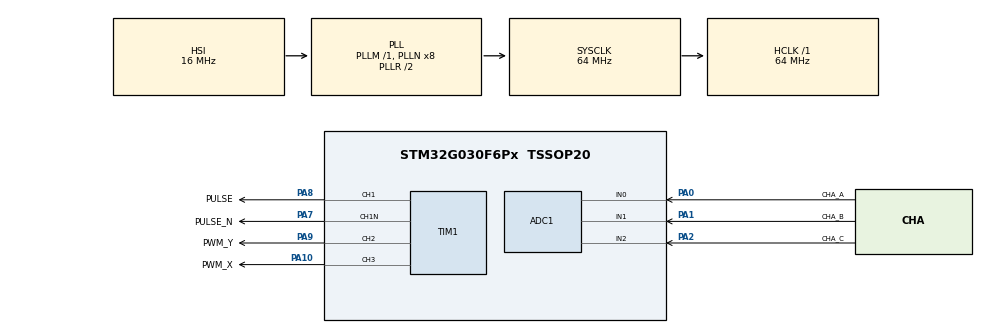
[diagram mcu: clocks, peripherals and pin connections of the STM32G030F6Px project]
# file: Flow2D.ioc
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ADC1.Channel-0\#ChannelRegularConversion=ADC_CHANNEL_0
ADC1.Channel-1\#ChannelRegularConversion=ADC_CHANNEL_1
ADC1.Channel-2\#ChannelRegularConversion=ADC_CHANNEL_2
ADC1.Channel-3\#ChannelRegularConversion=ADC_CHANNEL_TEMPSENSOR
ADC1.ChannelTS=ADC_CHANNEL_TEMPSENSOR
ADC1.ClockPrescaler=ADC_CLOCK_SYNC_PCLK_DIV2
ADC1.DMAContinuousRequests=ENABLE
ADC1.EOCSelection=ADC_EOC_SEQ_CONV
ADC1.ExternalTrigConv=ADC_EXTERNALTRIG_T3_TRGO
ADC1.ExternalTrigConvEdge=ADC_EXTERNALTRIGCONVEDGE_RISING
ADC1.NbrOfConversion=4
ADC1.NbrOfConversionFlag=1
ADC1.Overrun=ADC_OVR_DATA_OVERWRITTEN
ADC1.Rank-0\#ChannelRegularConversion=1
ADC1.Rank-1\#ChannelRegularConversion=2
ADC1.Rank-2\#ChannelRegularConversion=3
ADC1.Rank-3\#ChannelRegularConversion=4
ADC1.SamplingTime-0\#ChannelRegularConversion=ADC_SAMPLINGTIME_COMMON_1
ADC1.SamplingTime-1\#ChannelRegularConversion=ADC_SAMPLINGTIME_COMMON_1
ADC1.SamplingTime-2\#ChannelRegularConversion=ADC_SAMPLINGTIME_COMMON_1
ADC1.SamplingTime-3\#ChannelRegularConversion=ADC_SAMPLINGTIME_COMMON_2
ADC1.SamplingTimeCommon1=ADC_SAMPLETIME_7CYCLES_5
ADC1.SamplingTimeCommon2=ADC_SAMPLETIME_79CYCLES_5
ADC1.SelectedChannel=ADC_CHANNEL_0|ADC_CHANNEL_1|ADC_CHANNEL_2|ADC_CHANNEL_TEMPSENSOR
ADC1.Sequencer=FULLY_CONFIGURABLE
ADC1.master=1
Dma.ADC1.0.Direction=DMA_PERIPH_TO_MEMORY
Dma.ADC1.0.EventEnable=DISABLE
Dma.ADC1.0.Instance=DMA1_Channel1
Dma.ADC1.0.MemDataAlignment=DMA_MDATAALIGN_HALFWORD
Dma.ADC1.0.MemInc=DMA_MINC_ENABLE
Dma.ADC1.0.Mode=DMA_CIRCULAR
Dma.ADC1.0.PeriphDataAlignment=DMA_PDATAALIGN_HALFWORD
Dma.ADC1.0.PeriphInc=DMA_PINC_DISABLE
Dma.ADC1.0.Polarity=HAL_DMAMUX_REQ_GEN_RISING
Dma.ADC1.0.Priority=DMA_PRIORITY_VERY_HIGH
Dma.ADC1.0.RequestNumber=1
Dma.ADC1.0.SignalID=NONE
Dma.ADC1.0.SyncEnable=DISABLE
Dma.ADC1.0.SyncPolarity=HAL_DMAMUX_SYNC_NO_EVENT
Dma.ADC1.0.SyncRequestNumber=1
Dma.ADC1.0.SyncSignalID=NONE
Dma.Request0=ADC1
Dma.Request1=TIM1_CH1
Dma.TIM1_CH1.1.Direction=DMA_MEMORY_TO_PERIPH
Dma.TIM1_CH1.1.EventEnable=DISABLE
Dma.TIM1_CH1.1.Instance=DMA1_Channel3
Dma.TIM1_CH1.1.MemDataAlignment=DMA_MDATAALIGN_HALFWORD
Dma.TIM1_CH1.1.MemInc=DMA_MINC_ENABLE
Dma.TIM1_CH1.1.Mode=DMA_CIRCULAR
Dma.TIM1_CH1.1.PeriphDataAlignment=DMA_PDATAALIGN_HALFWORD
Dma.TIM1_CH1.1.PeriphInc=DMA_PINC_DISABLE
Dma.TIM1_CH1.1.Polarity=HAL_DMAMUX_REQ_GEN_RISING
Dma.TIM1_CH1.1.Priority=DMA_PRIORITY_HIGH
Dma.TIM1_CH1.1.RequestNumber=1
Dma.TIM1_CH1.1.SignalID=NONE
Dma.TIM1_CH1.1.SyncEnable=DISABLE
Dma.TIM1_CH1.1.SyncPolarity=HAL_DMAMUX_SYNC_NO_EVENT
Dma.TIM1_CH1.1.SyncRequestNumber=1
Dma.TIM1_CH1.1.SyncSignalID=NONE
Mcu.Family=STM32G0
Mcu.Name=STM32G030F6Px
Mcu.Package=TSSOP20
Mcu.UserConstants=ADC_RUN_TRIGGER_FREQ,(US_RUN_FREQ * 4);US_RUN_FREQ,40000;TIM3_CH1_COMPARE,1;TIM1_RUN_RELOAD,(TIM1_RUN_PERIOD-1);TIM3_RUN_RELOAD,(TIM3_RUN_PERIOD-1);TIM3_CLOCK_FREQ,64000000;TIM1_CLOCK_FREQ,64000000;TIM1_RUN_PERIOD,(TIM1_CLOCK_FREQ/US_RUN_FREQ);ADC_NUM_OF_SAMPLES,160;TIM3_RUN_PERIOD,(TIM3_CLOCK_FREQ/ADC_RUN_TRIGGER_FREQ)
NVIC.DMA1_Channel1_IRQn=true\:2\:0\:true\:false\:true\:false\:true
NVIC.DMA1_Channel2_3_IRQn=true\:1\:0\:true\:false\:true\:false\:true
PA0.GPIO_Label=CHA_A
PA0.Mode=IN0
PA0.Signal=ADC1_IN0
PA1.GPIO_Label=CHA_B
PA1.Mode=IN1
PA1.Signal=ADC1_IN1
PA10\ [PA12].GPIO_Label=PWM_X
PA10\ [PA12].Signal=S_TIM1_CH3
PA13.Mode=Serial_Wire
PA13.Signal=SYS_SWDIO
PA14-BOOT0.Mode=Serial_Wire
PA14-BOOT0.Signal=SYS_SWCLK
PA2.GPIO_Label=CHA_C
PA2.Mode=IN2
PA2.Signal=ADC1_IN2
PA7.GPIO_Label=PULSE_N
PA7.GPIO_ModeDefaultPP=GPIO_MODE_AF_OD
PA7.GPIO_Speed=GPIO_SPEED_FREQ_MEDIUM
PA7.Mode=PWM Generation1 CH1 CH1N
PA7.Signal=TIM1_CH1N
PA8.GPIO_Label=PULSE
PA8.GPIO_ModeDefaultPP=GPIO_MODE_AF_OD
PA8.GPIO_Speed=GPIO_SPEED_FREQ_MEDIUM
PA8.Signal=S_TIM1_CH1
PA9\ [PA11].GPIO_Label=PWM_Y
PA9\ [PA11].Signal=S_TIM1_CH2
PC14-OSC32_IN\ (PC14).Mode=LSE-External-Oscillator
PC14-OSC32_IN\ (PC14).Signal=RCC_OSC32_IN
PC15-OSC32_OUT\ (PC15).Mode=LSE-External-Oscillator
PC15-OSC32_OUT\ (PC15).Signal=RCC_OSC32_OUT
ProjectManager.HeapSize=0x200
ProjectManager.StackSize=0x400
ProjectManager.TargetToolchain=Makefile
RCC.ADCFreq_Value=64000000
RCC.AHBFreq_Value=64000000
RCC.CortexFreq_Value=64000000
RCC.EXTERNAL_CLOCK_VALUE=12288000
RCC.HCLKFreq_Value=64000000
RCC.HSE_VALUE=8000000
RCC.HSI_VALUE=16000000
RCC.SYSCLKFreq_VALUE=64000000
RCC.SYSCLKSource=RCC_SYSCLKSOURCE_PLLCLK
RCC.VCOOutputFreq_Value=128000000
SH.S_TIM1_CH1.0=TIM1_CH1,PWM Generation1 CH1 CH1N
SH.S_TIM1_CH2.0=TIM1_CH2,PWM Generation2 CH2
SH.S_TIM1_CH3.0=TIM1_CH3,PWM Generation3 CH3
TIM1.Channel-PWM\ Generation1\ CH1\ CH1N=TIM_CHANNEL_1
TIM1.Channel-PWM\ Generation2\ CH2=TIM_CHANNEL_2
TIM1.Channel-PWM\ Generation3\ CH3=TIM_CHANNEL_3
TIM1.OC1Preload_PWM=ENABLE
TIM1.OC2Preload_PWM=ENABLE
TIM1.OC3Preload_PWM=ENABLE
TIM1.Period=TIM1_RUN_RELOAD
TIM1.Pulse-PWM\ Generation1\ CH1\ CH1N=(TIM1_RUN_RELOAD/2)
TIM1.TIM_MasterOutputTrigger=TIM_TRGO_ENABLE
TIM3.Channel-PWM\ Generation1\ No\ Output=TIM_CHANNEL_1
TIM3.OC1Preload_PWM=DISABLE
TIM3.Period=TIM3_RUN_RELOAD
TIM3.Pulse-PWM\ Generation1\ No\ Output=TIM3_CH1_COMPARE
TIM3.TIM_MasterOutputTrigger=TIM_TRGO_OC1REF
VP_ADC1_TempSens_Input.Mode=IN-TempSens
VP_SYS_VS_PINREMAP.Mode=PINREMAP
VP_SYS_VS_PINREMAP_10_12.Mode=PINREMAP_10_12
VP_TIM1_VS_ClockSourceINT.Mode=Internal
VP_TIM3_VS_ClockSourceINT.Mode=Internal
VP_TIM3_VS_no_output1.Mode=PWM Generation1 No Output
board=custom

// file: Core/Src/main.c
/* USER CODE BEGIN Header */
/**
  ******************************************************************************
  * @file           : main.c
  * @brief          : Main program body
  ******************************************************************************
  * @attention
  *
  * <h2><center>&copy; Copyright (c) 2021 STMicroelectronics.
  * All rights reserved.</center></h2>
  *
  * This software component is licensed by ST under BSD 3-Clause license,
  * the "License"; You may not use this file except in compliance with the
  * License. You may obtain a copy of the License at:
  *                        opensource.org/licenses/BSD-3-Clause
  *
  ******************************************************************************
  */
/* USER CODE END Header */
#include "main.h"

/* USER CODE BEGIN Includes */
#include "qfplib.h"
#include "complex.h"
/* USER CODE END Includes */

ADC_HandleTypeDef hadc1;
DMA_HandleTypeDef hdma_adc1;

TIM_HandleTypeDef htim1;
TIM_HandleTypeDef htim3;
DMA_HandleTypeDef hdma_tim1_ch1;

/* USER CODE BEGIN PV */
uint16_t ADCBuffer[2 * 3 * ADC_TRIGGER_FREQ / ISR_FREQ];
Complex_t Offsets[3] = {{1.3783344f, 0.594385803f}, {0.274015725f, -0.637563825}, {0.697410405f, 0.659802914f}};
float VxFiltered, VyFiltered;
/* USER CODE END PV */

void SystemClock_Config(void);
static void MX_GPIO_Init(void);
static void MX_DMA_Init(void);
static void MX_ADC1_Init(void);
static void MX_TIM1_Init(void);
static void MX_TIM3_Init(void);
/* USER CODE BEGIN PFP */
static void process(uint16_t *buff);
/* USER CODE END PFP */

int main(void)
{

  /* MCU Configuration--------------------------------------------------------*/

  /* Reset of all peripherals, Initializes the Flash interface and the Systick. */
  HAL_Init();

  /* Configure the system clock */
  SystemClock_Config();

  /* Initialize all configured peripherals */
  MX_GPIO_Init();
  MX_DMA_Init();
  MX_ADC1_Init();
  MX_TIM1_Init();
  MX_TIM3_Init();
  /* USER CODE BEGIN 2 */
  // Start ultrasonic transducer timer. This will also trigger the start of timer3.
  if (HAL_TIM_PWM_Start(&htim1, TIM_CHANNEL_1) != HAL_OK)
  {
    while (1)
      ;
  }

  // Start pwm output channel(for X axis).
  if (HAL_TIM_PWM_Start(&htim1, TIM_CHANNEL_2) != HAL_OK)
  {
    while (1)
      ;
  }

  // Start pwm output channel(for Y axis).
  if (HAL_TIM_PWM_Start(&htim1, TIM_CHANNEL_3) != HAL_OK)
  {
    while (1)
      ;
  }

  if (HAL_ADC_Start_DMA(&hadc1, (uint32_t *)ADCBuffer, sizeof(ADCBuffer) / sizeof(ADCBuffer[0])))
  {
    while (1)
      ;
  }

  // Start ADC trigger timer.
  if (HAL_TIM_PWM_Start(&htim3, TIM_CHANNEL_1) != HAL_OK)
  {
    while (1)
      ;
  }

  VxFiltered = 0.0f;
  VyFiltered = 0.0f;
  /* USER CODE END 2 */

  /* Infinite loop */
  while (1)
  {

  }
}

void SystemClock_Config(void)
{
  RCC_OscInitTypeDef RCC_OscInitStruct = {0};
  RCC_ClkInitTypeDef RCC_ClkInitStruct = {0};
  RCC_PeriphCLKInitTypeDef PeriphClkInit = {0};

  /** Configure the main internal regulator output voltage
  */
  HAL_PWREx_ControlVoltageScaling(PWR_REGULATOR_VOLTAGE_SCALE1);
  /** Initializes the RCC Oscillators according to the specified parameters
  * in the RCC_OscInitTypeDef structure.
  */
  RCC_OscInitStruct.OscillatorType = RCC_OSCILLATORTYPE_HSI;
  RCC_OscInitStruct.HSIState = RCC_HSI_ON;
  RCC_OscInitStruct.HSIDiv = RCC_HSI_DIV1;
  RCC_OscInitStruct.HSICalibrationValue = RCC_HSICALIBRATION_DEFAULT;
  RCC_OscInitStruct.PLL.PLLState = RCC_PLL_ON;
  RCC_OscInitStruct.PLL.PLLSource = RCC_PLLSOURCE_HSI;
  RCC_OscInitStruct.PLL.PLLM = RCC_PLLM_DIV1;
  RCC_OscInitStruct.PLL.PLLN = 8;
  RCC_OscInitStruct.PLL.PLLP = RCC_PLLP_DIV2;
  RCC_OscInitStruct.PLL.PLLR = RCC_PLLR_DIV2;
  if (HAL_RCC_OscConfig(&RCC_OscInitStruct) != HAL_OK)
  {
    Error_Handler();
  }
  /** Initializes the CPU, AHB and APB buses clocks
  */
  RCC_ClkInitStruct.ClockType = RCC_CLOCKTYPE_HCLK | RCC_CLOCKTYPE_SYSCLK | RCC_CLOCKTYPE_PCLK1;
  RCC_ClkInitStruct.SYSCLKSource = RCC_SYSCLKSOURCE_PLLCLK;
  RCC_ClkInitStruct.AHBCLKDivider = RCC_SYSCLK_DIV1;
  RCC_ClkInitStruct.APB1CLKDivider = RCC_HCLK_DIV1;

  if (HAL_RCC_ClockConfig(&RCC_ClkInitStruct, FLASH_LATENCY_2) != HAL_OK)
  {
    Error_Handler();
  }
  /** Initializes the peripherals clocks
  */
  PeriphClkInit.PeriphClockSelection = RCC_PERIPHCLK_ADC;
  PeriphClkInit.AdcClockSelection = RCC_ADCCLKSOURCE_SYSCLK;
  if (HAL_RCCEx_PeriphCLKConfig(&PeriphClkInit) != HAL_OK)
  {
    Error_Handler();
  }
}

static void MX_ADC1_Init(void)
{

  ADC_ChannelConfTypeDef sConfig = {0};

  /** Configure the global features of the ADC (Clock, Resolution, Data Alignment and number of conversion)
  */
  hadc1.Instance = ADC1;
  hadc1.Init.ClockPrescaler = ADC_CLOCK_SYNC_PCLK_DIV2;
  hadc1.Init.Resolution = ADC_RESOLUTION_12B;
  hadc1.Init.DataAlign = ADC_DATAALIGN_RIGHT;
  hadc1.Init.ScanConvMode = ADC_SCAN_ENABLE;
  hadc1.Init.EOCSelection = ADC_EOC_SEQ_CONV;
  hadc1.Init.LowPowerAutoWait = DISABLE;
  hadc1.Init.LowPowerAutoPowerOff = DISABLE;
  hadc1.Init.ContinuousConvMode = DISABLE;
  hadc1.Init.NbrOfConversion = 3;
  hadc1.Init.DiscontinuousConvMode = DISABLE;
  hadc1.Init.ExternalTrigConv = ADC_EXTERNALTRIG_T3_TRGO;
  hadc1.Init.ExternalTrigConvEdge = ADC_EXTERNALTRIGCONVEDGE_RISING;
  hadc1.Init.DMAContinuousRequests = ENABLE;
  hadc1.Init.Overrun = ADC_OVR_DATA_OVERWRITTEN;
  hadc1.Init.SamplingTimeCommon1 = ADC_SAMPLETIME_19CYCLES_5;
  hadc1.Init.SamplingTimeCommon2 = ADC_SAMPLETIME_1CYCLE_5;
  hadc1.Init.OversamplingMode = DISABLE;
  hadc1.Init.TriggerFrequencyMode = ADC_TRIGGER_FREQ_HIGH;
  if (HAL_ADC_Init(&hadc1) != HAL_OK)
  {
    Error_Handler();
  }
  /** Configure Regular Channel
  */
  sConfig.Channel = ADC_CHANNEL_0;
  sConfig.Rank = ADC_REGULAR_RANK_1;
  sConfig.SamplingTime = ADC_SAMPLINGTIME_COMMON_1;
  if (HAL_ADC_ConfigChannel(&hadc1, &sConfig) != HAL_OK)
  {
    Error_Handler();
  }
  /** Configure Regular Channel
  */
  sConfig.Channel = ADC_CHANNEL_1;
  sConfig.Rank = ADC_REGULAR_RANK_2;
  if (HAL_ADC_ConfigChannel(&hadc1, &sConfig) != HAL_OK)
  {
    Error_Handler();
  }
  /** Configure Regular Channel
  */
  sConfig.Channel = ADC_CHANNEL_2;
  sConfig.Rank = ADC_REGULAR_RANK_3;
  if (HAL_ADC_ConfigChannel(&hadc1, &sConfig) != HAL_OK)
  {
    Error_Handler();
  }
}

static void MX_TIM1_Init(void)
{

  TIM_ClockConfigTypeDef sClockSourceConfig = {0};
  TIM_MasterConfigTypeDef sMasterConfig = {0};
  TIM_OC_InitTypeDef sConfigOC = {0};
  TIM_BreakDeadTimeConfigTypeDef sBreakDeadTimeConfig = {0};

  htim1.Instance = TIM1;
  htim1.Init.Prescaler = 0;
  htim1.Init.CounterMode = TIM_COUNTERMODE_UP;
  htim1.Init.Period = TIM1_RELOAD;
  htim1.Init.ClockDivision = TIM_CLOCKDIVISION_DIV1;
  htim1.Init.RepetitionCounter = 0;
  htim1.Init.AutoReloadPreload = TIM_AUTORELOAD_PRELOAD_DISABLE;
  if (HAL_TIM_Base_Init(&htim1) != HAL_OK)
  {
    Error_Handler();
  }
  sClockSourceConfig.ClockSource = TIM_CLOCKSOURCE_INTERNAL;
  if (HAL_TIM_ConfigClockSource(&htim1, &sClockSourceConfig) != HAL_OK)
  {
    Error_Handler();
  }
  if (HAL_TIM_PWM_Init(&htim1) != HAL_OK)
  {
    Error_Handler();
  }
  sMasterConfig.MasterOutputTrigger = TIM_TRGO_ENABLE;
  sMasterConfig.MasterOutputTrigger2 = TIM_TRGO2_RESET;
  sMasterConfig.MasterSlaveMode = TIM_MASTERSLAVEMODE_DISABLE;
  if (HAL_TIMEx_MasterConfigSynchronization(&htim1, &sMasterConfig) != HAL_OK)
  {
    Error_Handler();
  }
  sConfigOC.OCMode = TIM_OCMODE_PWM1;
  sConfigOC.Pulse = TIM1_RELOAD / 2;
  sConfigOC.OCPolarity = TIM_OCPOLARITY_HIGH;
  sConfigOC.OCNPolarity = TIM_OCNPOLARITY_HIGH;
  sConfigOC.OCFastMode = TIM_OCFAST_DISABLE;
  sConfigOC.OCIdleState = TIM_OCIDLESTATE_RESET;
  sConfigOC.OCNIdleState = TIM_OCNIDLESTATE_RESET;
  if (HAL_TIM_PWM_ConfigChannel(&htim1, &sConfigOC, TIM_CHANNEL_1) != HAL_OK)
  {
    Error_Handler();
  }

  if (HAL_TIM_PWM_ConfigChannel(&htim1, &sConfigOC, TIM_CHANNEL_2) != HAL_OK)
  {
    Error_Handler();
  }
  if (HAL_TIM_PWM_ConfigChannel(&htim1, &sConfigOC, TIM_CHANNEL_3) != HAL_OK)
  {
    Error_Handler();
  }
  sBreakDeadTimeConfig.OffStateRunMode = TIM_OSSR_DISABLE;
  sBreakDeadTimeConfig.OffStateIDLEMode = TIM_OSSI_DISABLE;
  sBreakDeadTimeConfig.LockLevel = TIM_LOCKLEVEL_OFF;
  sBreakDeadTimeConfig.DeadTime = 0;
  sBreakDeadTimeConfig.BreakState = TIM_BREAK_DISABLE;
  sBreakDeadTimeConfig.BreakPolarity = TIM_BREAKPOLARITY_HIGH;
  sBreakDeadTimeConfig.BreakFilter = 0;
  sBreakDeadTimeConfig.BreakAFMode = TIM_BREAK_AFMODE_INPUT;
  sBreakDeadTimeConfig.Break2State = TIM_BREAK2_DISABLE;
  sBreakDeadTimeConfig.Break2Polarity = TIM_BREAK2POLARITY_HIGH;
  sBreakDeadTimeConfig.Break2Filter = 0;
  sBreakDeadTimeConfig.Break2AFMode = TIM_BREAK_AFMODE_INPUT;
  sBreakDeadTimeConfig.AutomaticOutput = TIM_AUTOMATICOUTPUT_DISABLE;
  if (HAL_TIMEx_ConfigBreakDeadTime(&htim1, &sBreakDeadTimeConfig) != HAL_OK)
  {
    Error_Handler();
  }
  HAL_TIM_MspPostInit(&htim1);
}

static void MX_TIM3_Init(void)
{

  TIM_ClockConfigTypeDef sClockSourceConfig = {0};
  TIM_MasterConfigTypeDef sMasterConfig = {0};
  TIM_OC_InitTypeDef sConfigOC = {0};

  htim3.Instance = TIM3;
  htim3.Init.Prescaler = 0;
  htim3.Init.CounterMode = TIM_COUNTERMODE_UP;
  htim3.Init.Period = TIM3_RELOAD;
  htim3.Init.ClockDivision = TIM_CLOCKDIVISION_DIV1;
  htim3.Init.AutoReloadPreload = TIM_AUTORELOAD_PRELOAD_DISABLE;
  if (HAL_TIM_Base_Init(&htim3) != HAL_OK)
  {
    Error_Handler();
  }
  sClockSourceConfig.ClockSource = TIM_CLOCKSOURCE_INTERNAL;
  if (HAL_TIM_ConfigClockSource(&htim3, &sClockSourceConfig) != HAL_OK)
  {
    Error_Handler();
  }
  if (HAL_TIM_PWM_Init(&htim3) != HAL_OK)
  {
    Error_Handler();
  }
  sMasterConfig.MasterOutputTrigger = TIM_TRGO_OC1REF;
  sMasterConfig.MasterSlaveMode = TIM_MASTERSLAVEMODE_DISABLE;
  if (HAL_TIMEx_MasterConfigSynchronization(&htim3, &sMasterConfig) != HAL_OK)
  {
    Error_Handler();
  }
  sConfigOC.OCMode = TIM_OCMODE_PWM1;
  sConfigOC.Pulse = TIM3_CH1_COMPARE;
  sConfigOC.OCPolarity = TIM_OCPOLARITY_HIGH;
  sConfigOC.OCFastMode = TIM_OCFAST_DISABLE;
  if (HAL_TIM_PWM_ConfigChannel(&htim3, &sConfigOC, TIM_CHANNEL_1) != HAL_OK)
  {
    Error_Handler();
  }
  __HAL_TIM_DISABLE_OCxPRELOAD(&htim3, TIM_CHANNEL_1);
}

static void MX_DMA_Init(void)
{

  /* DMA controller clock enable */
  __HAL_RCC_DMA1_CLK_ENABLE();

  /* DMA interrupt init */
  /* DMA1_Channel1_IRQn interrupt configuration */
  HAL_NVIC_SetPriority(DMA1_Channel1_IRQn, 2, 0);
  HAL_NVIC_EnableIRQ(DMA1_Channel1_IRQn);
  /* DMA1_Channel2_3_IRQn interrupt configuration */
  HAL_NVIC_SetPriority(DMA1_Channel2_3_IRQn, 1, 0);
  HAL_NVIC_EnableIRQ(DMA1_Channel2_3_IRQn);
}

static void MX_GPIO_Init(void)
{
  /* GPIO Ports Clock Enable */
  __HAL_RCC_GPIOA_CLK_ENABLE();
}

/* USER CODE BEGIN 4 */
void process(uint16_t *buff)
{
  int32_t sumx[3] = {0, 0, 0};
  int32_t sumy[3] = {0, 0, 0};
  float diffspeed[3];

  for (uint16_t i = 0; i < (ADC_TRIGGER_FREQ / ISR_FREQ); i++)
  {
    if ((i & 0x03) == 0)
    {
      sumx[0] += buff[3 * i];
      sumx[1] += buff[3 * i + 1];
      sumx[2] += buff[3 * i + 2];
    }
    else if ((i & 0x03) == 1)
    {
      sumy[0] += buff[3 * i];
      sumy[1] += buff[3 * i + 1];
      sumy[2] += buff[3 * i + 2];
    }
    else if ((i & 0x03) == 2)
    {
      sumx[0] -= buff[3 * i];
      sumx[1] -= buff[3 * i + 1];
      sumx[2] -= buff[3 * i + 2];
    }
    else
    {
      sumy[0] -= buff[3 * i];
      sumy[1] -= buff[3 * i + 1];
      sumy[2] -= buff[3 * i + 2];
    }
  }

  for (uint16_t i = 0; i < 3; i++)
  {
    Complex_t phasor_a, phasor_b, ratio_ba;

    phasor_a.real = qfp_int2float(sumx[i]);
    phasor_a.img = qfp_int2float(sumy[i]);
    phasor_b.real = qfp_int2float(sumx[(i + 1) * (i < 2)]);
    phasor_b.img = qfp_int2float(sumy[(i + 1) * (i < 2)]);

    Complex_Divide(&phasor_b, &phasor_a, &ratio_ba);
    //Offsets[i].real = Offsets[i].real * 0.995 + ratio_ba.real * 0.005;
    //Offsets[i].img = Offsets[i].img * 0.995 + ratio_ba.img * 0.005;
    Complex_Divide(&ratio_ba, &Offsets[i], &ratio_ba);
    diffspeed[i] = Complex_Argument(&ratio_ba);
  }

  float vx, vy;
  vx = qfp_fdiv(qfp_fsub(qfp_fadd(diffspeed[2], diffspeed[1]), diffspeed[0]), (GAIN * 2.0f * M_SQRT3));
  vy = qfp_fdiv(qfp_fsub(diffspeed[2], diffspeed[1]), (GAIN * 3.0f));

  VxFiltered = qfp_fadd(qfp_fmul(vx, (OUTPUT_FILTER_FREQ/ISR_FREQ)), qfp_fmul(VxFiltered, (1.0f - OUTPUT_FILTER_FREQ/ISR_FREQ)));
  VyFiltered = qfp_fadd(qfp_fmul(vy, (OUTPUT_FILTER_FREQ/ISR_FREQ)), qfp_fmul(VyFiltered, (1.0f - OUTPUT_FILTER_FREQ/ISR_FREQ)));

  // Update analog outputs.
  uint16_t comp_x, comp_y;
  comp_x = (uint16_t)qfp_fmul(qfp_fadd(0.5f, qfp_fdiv(VxFiltered, RANGE)), qfp_int2float(TIM1_RELOAD));
  comp_y = (uint16_t)qfp_fmul(qfp_fadd(0.5f, qfp_fdiv(VyFiltered, RANGE)), qfp_int2float(TIM1_RELOAD));

  __HAL_TIM_SET_COMPARE(&htim1, TIM_CHANNEL_2, comp_x);
  __HAL_TIM_SET_COMPARE(&htim1, TIM_CHANNEL_3, comp_y);
}

void HAL_ADC_ConvHalfCpltCallback(ADC_HandleTypeDef *hadc)
{
  process(&ADCBuffer[0]);
}

void HAL_ADC_ConvCpltCallback(ADC_HandleTypeDef *hadc)
{
  process(&ADCBuffer[3 * (ADC_TRIGGER_FREQ / ISR_FREQ)]);
}

/* USER CODE END 4 */

void Error_Handler(void)
{
  __disable_irq();
  while (1)
  {
  }
}

/************************ (C) COPYRIGHT STMicroelectronics *****END OF FILE****/
